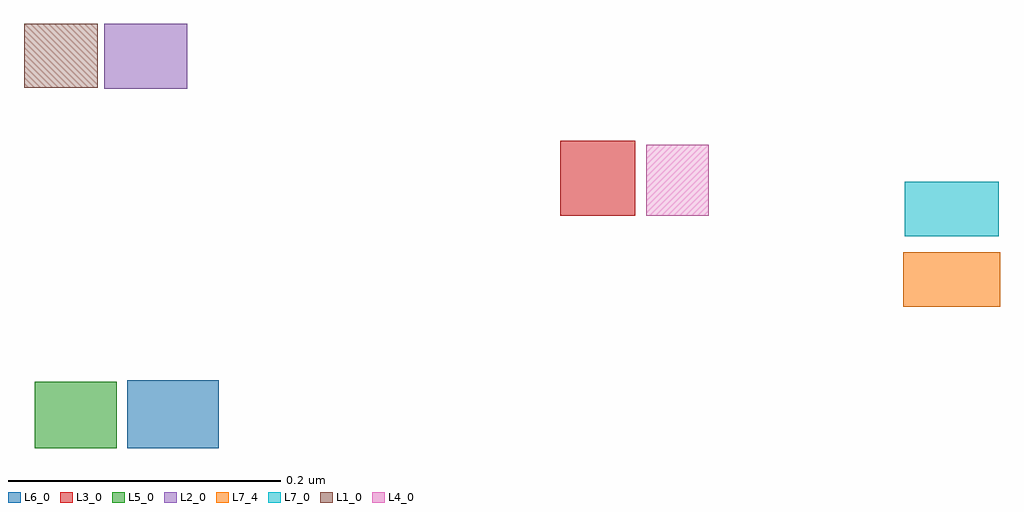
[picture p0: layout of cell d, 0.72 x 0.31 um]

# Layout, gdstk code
import gdstk
lib = gdstk.Library(unit=1e-6, precision=1e-09)
def R(c, l, rs):  # rectangles x0, y0, x1, y1
    for r in rs: c.add(gdstk.rectangle(r[:2], r[2:], *l))
L1_0 = (1, 0)
L2_0 = (2, 0)
L3_0 = (3, 0)
L4_0 = (4, 0)
L5_0 = (5, 0)
L6_0 = (6, 0)
L7_0 = (7, 0)
L7_4 = (7, 4)

c_b = lib.new_cell('b')
R(c_b, L3_0, [(-0.114,0.009,-0.059,0.064)])
R(c_b, L4_0, [(-0.051,0.009,-0.005,0.061)])

c_a = lib.new_cell('a')
R(c_a, L1_0, [(-0.311,0.06,-0.257,0.107)])
R(c_a, L2_0, [(-0.252,0.059,-0.191,0.107)])

c_c = lib.new_cell('c')
R(c_c, L5_0, [(-0.307,-0.074,-0.247,-0.025)])
R(c_c, L6_0, [(-0.239,-0.074,-0.172,-0.024)])

c_d = lib.new_cell('d')
R(c_d, L7_0, [(0.025,0.058,0.094,0.098)])
R(c_d, L7_4, [(0.024,0.006,0.095,0.046)])
c_d.add(gdstk.Reference(c_b, (-0.114,0.064)))
c_d.add(gdstk.Reference(c_a, (-0.311,0.107)))
c_d.add(gdstk.Reference(c_c, (-0.307,-0.024)))

lib.write_gds('d.gds')
